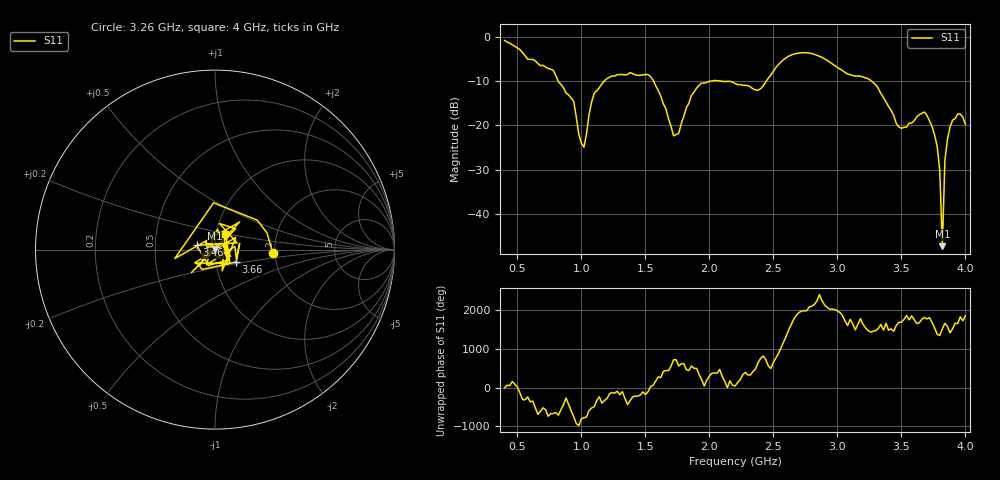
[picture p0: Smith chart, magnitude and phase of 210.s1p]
!Created with skrf (http://scikit-rf.org).
# Hz S RI R 50.0
!freq ReS11 ImS11
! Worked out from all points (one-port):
!   181 points, 400 MHz to 4 GHz, reference 50 ohm
!   lowest |S11| = -47.3 dB at 3.82 GHz (marker M1), VSWR 1.01, Z = 50 + j0.429 ohm
!   |S11| at or under -10 dB: 818.7 MHz to 1.178 GHz (359.1 MHz wide, 36 % of centre); 1.564 GHz to 2.005 GHz (441.2 MHz wide, 24.7 % of centre); 3.267 GHz to end of sweep (the widest 3 of 4)
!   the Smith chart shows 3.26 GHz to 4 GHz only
!   S11 on the Smith chart (normalised r, x): 3.26 GHz: 1.95, -0.08; 3.46 GHz: 0.81, +0.04; 3.66 GHz: 1.25, -0.18; 4 GHz: 1.10, +0.19
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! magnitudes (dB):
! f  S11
! 400 MHz  -0.8
! 780 MHz  -7.6
! 860 MHz  -11.5
! 940 MHz  -14.6
! 980 MHz  -22.1
! 1.02 GHz  -24.9
! 1.1 GHz  -12.8
! 1.3 GHz  -8.5
! 1.54 GHz  -9.0
! 1.72 GHz  -22.4
! 1.76 GHz  -21.8
! 1.92 GHz  -10.9
! 2.2 GHz  -10.5
! 2.38 GHz  -12.1
! 2.66 GHz  -3.9
! 3.1 GHz  -8.5
! 3.26 GHz  -9.8
! 3.46 GHz  -19.6
! 3.56 GHz  -19.5
! 3.66 GHz  -17.3
! 3.72 GHz  -19.0
! 3.78 GHz  -24.8
! 3.8 GHz  -30.3
! 3.82 GHz  -47.3
! 3.84 GHz  -27.9
! 3.86 GHz  -23.2
! 3.94 GHz  -17.4
! 4 GHz  -19.8
